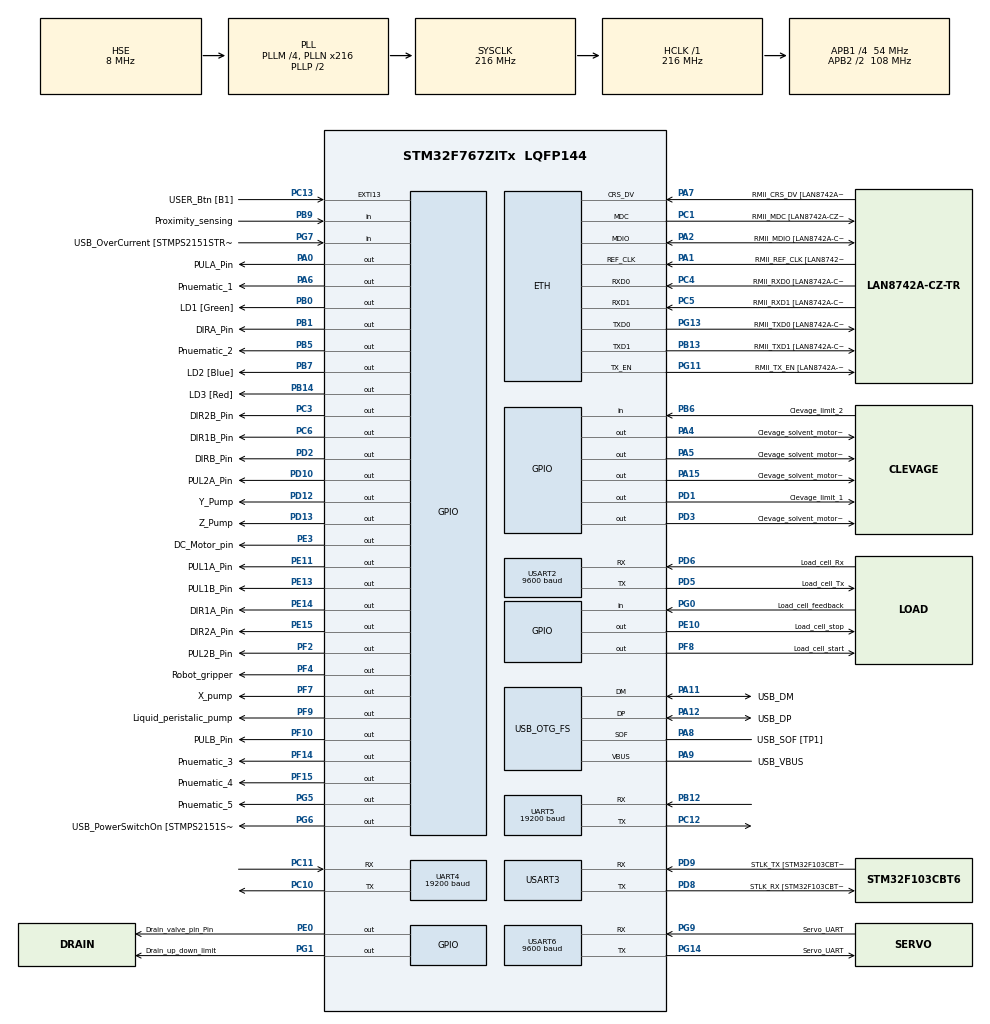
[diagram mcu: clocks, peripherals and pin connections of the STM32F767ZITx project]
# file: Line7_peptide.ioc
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CORTEX_M7.default_mode_Activation=1
ETH.MediaInterface=HAL_ETH_RMII_MODE
ETH.PHY_Name=LAN8742A_PHY_ADDRESS
ETH.PHY_Value=0
ETH.PhyAddress=0
FREERTOS.Tasks01=defaultTask,0,256,StartDefaultTask,Default,NULL,Dynamic,NULL,NULL
FREERTOS.configTOTAL_HEAP_SIZE=32768
FREERTOS.configUSE_NEWLIB_REENTRANT=1
LWIP.BSP.number=1
LWIP.DEFAULT_ACCEPTMBOX_SIZE=16
LWIP.DEFAULT_TCP_RECVMBOX_SIZE=32
LWIP.GATEWAY_ADDRESS=192.168.058.002
LWIP.IP_ADDRESS=192.168.058.100
LWIP.LWIP_DHCP=0
LWIP.LWIP_STATS=1
LWIP.MEMP_NUM_TCP_SEG=32
LWIP.MEM_SIZE=24*1024
LWIP.NETMASK_ADDRESS=250.250.250.000
LWIP.PBUF_POOL_BUFSIZE=1520
LWIP.PBUF_POOL_SIZE=24
LWIP.TCPIP_MBOX_SIZE=32
LWIP.TCPIP_THREAD_STACKSIZE=2048
LWIP.TCP_MSS=1460
LWIP.TCP_SND_BUF=5840
LWIP.TCP_WND=5840
LWIP.Version=v2.1.2_Cube
LWIP0.BSP.STBoard=false
LWIP0.BSP.api=BSP_COMPONENT_DRIVER
LWIP0.BSP.component=LAN8742
LWIP0.BSP.instance=LAN8742
LWIP0.BSP.name=Driver_PHY
LWIP0.BSP.semaphore=S_LAN8742
LWIP0.BSP.solution=LAN8742
Mcu.Family=STM32F7
Mcu.Name=STM32F767ZITx
Mcu.Package=LQFP144
NVIC.ETH_IRQn=true\:5\:0\:false\:false\:true\:true\:false\:true\:true
NVIC.PriorityGroup=NVIC_PRIORITYGROUP_4
NVIC.TIM1_UP_TIM10_IRQn=true\:5\:0\:false\:false\:true\:true\:true\:true\:true
NVIC.TIM2_IRQn=true\:5\:0\:false\:false\:true\:true\:true\:true\:true
NVIC.TIM6_DAC_IRQn=true\:15\:0\:false\:false\:true\:false\:false\:true\:true
NVIC.TIM7_IRQn=true\:5\:0\:false\:false\:true\:true\:true\:true\:true
NVIC.TimeBase=TIM6_DAC_IRQn
NVIC.TimeBaseIP=TIM6
PA0/WKUP.GPIO_Label=PULA_Pin
PA0/WKUP.Signal=GPIO_Output
PA1.GPIO_Label=RMII_REF_CLK [LAN8742A-CZ-TR_REFCLK0]
PA1.Mode=RMII
PA1.Signal=ETH_REF_CLK
PA10.GPIO_Label=USB_ID
PA10.Signal=USB_OTG_FS_ID
PA11.GPIO_Label=USB_DM
PA11.Mode=Device_Only
PA11.Signal=USB_OTG_FS_DM
PA12.GPIO_Label=USB_DP
PA12.Mode=Device_Only
PA12.Signal=USB_OTG_FS_DP
PA13.GPIO_Label=TMS
PA13.Mode=Serial_Wire
PA13.Signal=SYS_JTMS-SWDIO
PA14.GPIO_Label=TCK
PA14.Mode=Serial_Wire
PA14.Signal=SYS_JTCK-SWCLK
PA15.GPIO_Label=Clevage_solvent_motor_3
PA15.Signal=GPIO_Output
PA2.GPIO_Label=RMII_MDIO [LAN8742A-CZ-TR_MDIO]
PA2.Mode=RMII
PA2.Signal=ETH_MDIO
PA4.GPIO_Label=Clevage_solvent_motor_1
PA4.Signal=GPIO_Output
PA5.GPIO_Label=Clevage_solvent_motor_2
PA5.Signal=GPIO_Output
PA6.GPIO_Label=Pnuematic_1
PA6.Signal=GPIO_Output
PA7.GPIO_Label=RMII_CRS_DV [LAN8742A-CZ-TR_CRS_DV]
PA7.Mode=RMII
PA7.Signal=ETH_CRS_DV
PA8.GPIO_Label=USB_SOF [TP1]
PA8.Mode=Activate_SOF_FS
PA8.Signal=USB_OTG_FS_SOF
PA9.GPIO_Label=USB_VBUS
PA9.Mode=Activate_VBUS
PA9.Signal=USB_OTG_FS_VBUS
PB0.GPIO_Label=LD1 [Green]
PB0.Signal=GPIO_Output
PB1.GPIO_Label=DIRA_Pin
PB1.Signal=GPIO_Output
PB12.GPIO_Speed=GPIO_SPEED_FREQ_LOW
PB12.Mode=Asynchronous
PB12.Signal=UART5_RX
PB13.GPIO_Label=RMII_TXD1 [LAN8742A-CZ-TR_TXD1]
PB13.Mode=RMII
PB13.Signal=ETH_TXD1
PB14.GPIO_Label=LD3 [Red]
PB14.Signal=GPIO_Output
PB3.GPIO_Label=SWO
PB3.Signal=SYS_JTDO-SWO
PB5.GPIO_Label=Pnuematic_2
PB5.Signal=GPIO_Output
PB6.GPIO_Label=Clevage_limit_2
PB6.GPIO_PuPd=GPIO_NOPULL
PB6.Signal=GPIO_Input
PB7.GPIO_Label=LD2 [Blue]
PB7.Signal=GPIO_Output
PB9.GPIO_Label=Proximity_sensing
PB9.GPIO_PuPd=GPIO_PULLDOWN
PB9.Signal=GPIO_Input
PC1.GPIO_Label=RMII_MDC [LAN8742A-CZ-TR_MDC]
PC1.Mode=RMII
PC1.Signal=ETH_MDC
PC10.Mode=Asynchronous
PC10.Signal=UART4_TX
PC11.Mode=Asynchronous
PC11.Signal=UART4_RX
PC12.GPIO_Speed=GPIO_SPEED_FREQ_LOW
PC12.Mode=Asynchronous
PC12.Signal=UART5_TX
PC13.GPIO_Label=USER_Btn [B1]
PC13.Signal=GPXTI13
PC14/OSC32_IN.Mode=LSE-External-Oscillator
PC14/OSC32_IN.Signal=RCC_OSC32_IN
PC15/OSC32_OUT.Mode=LSE-External-Oscillator
PC15/OSC32_OUT.Signal=RCC_OSC32_OUT
PC3.GPIO_Label=DIR2B_Pin
PC3.Signal=GPIO_Output
PC4.GPIO_Label=RMII_RXD0 [LAN8742A-CZ-TR_RXD0]
PC4.Mode=RMII
PC4.Signal=ETH_RXD0
PC5.GPIO_Label=RMII_RXD1 [LAN8742A-CZ-TR_RXD1]
PC5.Mode=RMII
PC5.Signal=ETH_RXD1
PC6.GPIO_Label=DIR1B_Pin
PC6.Signal=GPIO_Output
PD1.GPIO_Label=Clevage_limit_1
PD1.Signal=GPIO_Output
PD10.GPIO_Label=PUL2A_Pin
PD10.Signal=GPIO_Output
PD12.GPIO_Label=Y_Pump
PD12.Signal=GPIO_Output
PD13.GPIO_Label=Z_Pump
PD13.Signal=GPIO_Output
PD2.GPIO_Label=DIRB_Pin
PD2.Signal=GPIO_Output
PD3.GPIO_Label=Clevage_solvent_motor_4
PD3.Signal=GPIO_Output
PD5.GPIO_Label=Load_cell_Tx
PD5.Mode=Asynchronous
PD5.Signal=USART2_TX
PD6.GPIO_Label=Load_cell_Rx
PD6.Mode=Asynchronous
PD6.Signal=USART2_RX
PD8.GPIO_Label=STLK_RX [STM32F103CBT6_PA3]
PD8.Mode=Asynchronous
PD8.Signal=USART3_TX
PD9.GPIO_Label=STLK_TX [STM32F103CBT6_PA2]
PD9.Mode=Asynchronous
PD9.Signal=USART3_RX
PE0.GPIO_Label=Drain_valve_pin_Pin
PE0.Signal=GPIO_Output
PE10.GPIO_Label=Load_cell_stop
PE10.Signal=GPIO_Output
PE11.GPIO_Label=PUL1A_Pin
PE11.Signal=GPIO_Output
PE13.GPIO_Label=PUL1B_Pin
PE13.Signal=GPIO_Output
PE14.GPIO_Label=DIR1A_Pin
PE14.Signal=GPIO_Output
PE15.GPIO_Label=DIR2A_Pin
PE15.Signal=GPIO_Output
PE3.GPIO_Label=DC_Motor_pin
PE3.Signal=GPIO_Output
PF10.GPIO_Label=PULB_Pin
PF10.Signal=GPIO_Output
PF14.GPIO_Label=Pnuematic_3
PF14.Signal=GPIO_Output
PF15.GPIO_Label=Pnuematic_4
PF15.Signal=GPIO_Output
PF2.GPIO_Label=PUL2B_Pin
PF2.Signal=GPIO_Output
PF4.GPIO_Label=Robot_gripper
PF4.Signal=GPIO_Output
PF7.GPIO_Label=X_pump
PF7.Signal=GPIO_Output
PF8.GPIO_Label=Load_cell_start
PF8.Signal=GPIO_Output
PF9.GPIO_Label=Liquid_peristalic_pump
PF9.Signal=GPIO_Output
PG0.GPIO_Label=Load_cell_feedback
PG0.Signal=GPIO_Input
PG1.GPIO_Label=Drain_up_down_limit
PG1.Signal=GPIO_Output
PG11.GPIO_Label=RMII_TX_EN [LAN8742A-CZ-TR_TXEN]
PG11.Mode=RMII
PG11.Signal=ETH_TX_EN
PG13.GPIO_Label=RMII_TXD0 [LAN8742A-CZ-TR_TXD0]
PG13.Mode=RMII
PG13.Signal=ETH_TXD0
PG14.GPIO_Label=Servo_UART
PG14.Mode=Asynchronous
PG14.Signal=USART6_TX
PG5.GPIO_Label=Pnuematic_5
PG5.Signal=GPIO_Output
PG6.GPIO_Label=USB_PowerSwitchOn [STMPS2151STR_EN]
PG6.Signal=GPIO_Output
PG7.GPIO_Label=USB_OverCurrent [STMPS2151STR_FAULT]
PG7.Signal=GPIO_Input
PG9.GPIO_Label=Servo_UART
PG9.Mode=Asynchronous
PG9.Signal=USART6_RX
PH0/OSC_IN.GPIO_Label=MCO [STM32F103CBT6_PA8]
PH0/OSC_IN.Mode=HSE-External-Clock-Source
PH0/OSC_IN.Signal=RCC_OSC_IN
PH1/OSC_OUT.Mode=HSE-External-Clock-Source
PH1/OSC_OUT.Signal=RCC_OSC_OUT
ProjectManager.HeapSize=0x200
ProjectManager.StackSize=0x400
ProjectManager.TargetToolchain=STM32CubeIDE
RCC.48MHZClocksFreq_Value=24000000
RCC.AHBFreq_Value=216000000
RCC.APB1CLKDivider=RCC_HCLK_DIV4
RCC.APB1Freq_Value=54000000
RCC.APB1TimFreq_Value=108000000
RCC.APB2CLKDivider=RCC_HCLK_DIV2
RCC.APB2Freq_Value=108000000
RCC.APB2TimFreq_Value=216000000
RCC.CortexFreq_Value=216000000
RCC.HCLKFreq_Value=216000000
RCC.HSE_VALUE=8000000
RCC.HSI_VALUE=16000000
RCC.PLLM=4
RCC.PLLMUL=RCC_PLL_MUL9
RCC.PLLN=216
RCC.PLLQ=9
RCC.PRESCALERUSB=RCC_USBCLKSOURCE_PLL_DIV1_5
RCC.SYSCLKFreq_VALUE=216000000
RCC.SYSCLKSource=RCC_SYSCLKSOURCE_PLLCLK
RCC.SYSCLKSourceVirtual=RCC_SYSCLKSOURCE_PLLCLK
RCC.USBFreq_Value=48000000
RCC.VCOOutputFreq_Value=432000000
TIM10.AutoReloadPreload=TIM_AUTORELOAD_PRELOAD_ENABLE
TIM10.Period=999
TIM10.Prescaler=431
TIM2.AutoReloadPreload=TIM_AUTORELOAD_PRELOAD_ENABLE
TIM2.Channel-Output\ Compare1\ No\ Output=TIM_CHANNEL_1
TIM2.Prescaler=107
TIM7.AutoReloadPreload=TIM_AUTORELOAD_PRELOAD_ENABLE
TIM7.Period=999
TIM7.Prescaler=215
UART4.BaudRate=19200
UART5.BaudRate=19200
UART5.OverrunDisableParam=UART_ADVFEATURE_OVERRUN_DISABLE
USART2.BaudRate=9600
USART2.VirtualMode-Asynchronous=VM_ASYNC
USART3.VirtualMode-Asynchronous=VM_ASYNC
USART6.BaudRate=9600
USART6.VirtualMode-Asynchronous=VM_ASYNC
USB_OTG_FS.VirtualMode=Device_Only
VP_FREERTOS_VS_CMSIS_V1.Mode=CMSIS_V1
VP_LWIP_VS_Enabled.Mode=Enabled
VP_SYS_VS_tim6.Mode=TIM6
VP_TIM10_VS_ClockSourceINT.Mode=Enable_Timer
VP_TIM2_VS_ClockSourceINT.Mode=Internal
VP_TIM2_VS_no_output1.Mode=Output Compare1 No Output
VP_TIM7_VS_ClockSourceINT.Mode=Enable_Timer
board=NUCLEO-F767ZI

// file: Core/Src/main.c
/* USER CODE BEGIN Header */
/**
  ******************************************************************************
  * @file           : main.c
  * @brief          : Main program body -- LINE 7 peptide synthesizer
  *
  *  Boots the peripherals, initialises the RS485 field-bus devices, then hands
  *  the CPU to FreeRTOS. The peptide application (FR5 six-axis arm + rail + the
  *  flow-SPPS station sequence) runs in the appMain task -- see freertos.c and
  *  Application/Peptide/peptide_app.c.
  *
  *  All customisations live inside USER CODE blocks so STM32CubeMX preserves
  *  them when you regenerate after enabling FreeRTOS + LWIP (already set in the
  *  .ioc). See INTEGRATION_GUIDE.md.
  ******************************************************************************
  * @attention
  *
  * Copyright (c) 2026 STMicroelectronics.
  * All rights reserved.
  *
  * This software is licensed under terms that can be found in the LICENSE file
  * in the root directory of this software component.
  * If no LICENSE file comes with this software, it is provided AS-IS.
  *
  ******************************************************************************
  */
/* USER CODE END Header */
#include "main.h"
#include "cmsis_os.h"
#include "lwip.h"
#include "tim.h"
#include "usart.h"
#include "usb_otg.h"
#include "gpio.h"

/* USER CODE BEGIN Includes */
#include "servo.h"
#include "uart.h"
#include "Load.h"
#include "timer_app.h"   /* timerAppInit() -- starts TIM2 for delay_us() */
#include <stdarg.h>
#include <stdio.h>
/* USER CODE END Includes */

/* USER CODE BEGIN PD */
/* PE9 = load-cell feedback INPUT. Changing PE9's mode to input in CubeMX
 * cleared its user label, so main.h no longer generates these two defines.
 * Re-declare them here (USER CODE = regen-safe). Matches gpio.c, which now
 * configures PE9/GPIOE as GPIO_MODE_INPUT.
 * (To make these come from main.h again, just re-enter the User Label
 *  "Load_cell_feedback" on PE9 in CubeMX and regenerate.) */
#ifndef Load_cell_feedback_Pin
#define Load_cell_feedback_Pin        GPIO_PIN_9
#define Load_cell_feedback_GPIO_Port  GPIOE
#endif
/* USER CODE END PD */

/* USER CODE BEGIN PV */
/* Servo bus handle: shared RS485/Modbus bus (USART2). Addresses:
 *   MIXER_ID (0x01) = St5 stir servo, MicroID (0x02) = St2 amino carousel,
 *   ROBOT_LINEAR_ID (0x03) = arm linear rail. */
static ServoHandle ServoObject;
ServoHandle *servo = &ServoObject;

/* Load cell / vibratory feeder controller (USART6). */
static LoadCellHandle LoadCellObject;
LoadCellHandle *loadcell = &LoadCellObject;

#define LOADCELL_SLAVE_ID   0x01

/* MachineMenu.c declares this as `extern uint8_t SelectedID;` (transient
 * scratch var for whichever servo the numbered menu is currently driving,
 * e.g. MIXER_ID / MicroID) -- it must be DEFINED somewhere. Restored here
 * to match the original menu-based main.c. */
uint8_t SelectedID;
/* USER CODE END PV */

void SystemClock_Config(void);
static void MPU_Config(void);
void MX_FREERTOS_Init(void);
/* USER CODE BEGIN PFP */
void stepperTimerTick(void);    /* stepper.c -- motor 1, one TIM7 step sub-state  */
void stepperTimerTick2(void);   /* stepper.c -- motor 2, one TIM10 step sub-state */

/* USER CODE END PFP */

/* USER CODE BEGIN 0 */

/* Retarget printf() to the USART3 console so the ported robot module's
 * logging works alongside UART_Print(). syscalls.c's _write() calls this. */
int __io_putchar(int ch)
{
	uint8_t c = (uint8_t)ch;
	HAL_UART_Transmit(&huart3, &c, 1, HAL_MAX_DELAY);
	return ch;
}

/* USER CODE END 0 */

int main(void)
{

  /* MPU Configuration--------------------------------------------------------*/
  MPU_Config();

  /* MCU Configuration--------------------------------------------------------*/

  /* Reset of all peripherals, Initializes the Flash interface and the Systick. */
  HAL_Init();

  /* Configure the system clock */
  SystemClock_Config();

  /* Initialize all configured peripherals */
  MX_GPIO_Init();
  MX_USART3_UART_Init();
  MX_USB_OTG_FS_PCD_Init();
  MX_USART2_UART_Init();
  MX_USART6_UART_Init();
  MX_TIM7_Init();
  MX_TIM10_Init();
  MX_TIM2_Init();
  MX_UART4_Init();
  MX_UART5_Init();
  /* USER CODE BEGIN 2 */
  /* Start TIM2 so delay_us()/delay_ms() in timer_app.c actually count -- the
   * new_stepper.c driver blocks in delay_us() forever without this. Inside
   * USER CODE so CubeMX keeps it on regenerate. */
  timerAppInit();

  /* RS485 field-bus devices (must be up before the RTOS tasks use them):
       USART2 -> MAX485 -> servo drives (St5 mixer, St2 carousel, arm rail)
       USART6 -> MAX485 -> load cell / vibratory feeder controller */
  ServoInit(servo, &huart6);
  //ServoPositionConfig(servo,MicroID);
  //ServoPositionConfig(servo, MIXER_ID);

  LoadCell_Init(loadcell, &huart2,
                Load_cell_start_GPIO_Port, Load_cell_start_Pin,
                Load_cell_stop_GPIO_Port, Load_cell_stop_Pin,
                Load_cell_feedback_GPIO_Port, Load_cell_feedback_Pin,
                LOADCELL_SLAVE_ID);

  UART_Print("\r\nLINE 7 boot: peripherals up, starting RTOS...\r\n");
  /* USER CODE END 2 */

  /* Call init function for freertos objects (in cmsis_os2.c) */
  MX_FREERTOS_Init();

  /* Start scheduler */
  osKernelStart();

  /* We should never get here as control is now taken by the scheduler */

  /* Infinite loop */
  while (1)
  {

  }
}

void SystemClock_Config(void)
{
  RCC_OscInitTypeDef RCC_OscInitStruct = {0};
  RCC_ClkInitTypeDef RCC_ClkInitStruct = {0};

  /** Configure LSE Drive Capability
  */
  HAL_PWR_EnableBkUpAccess();

  /** Configure the main internal regulator output voltage
  */
  __HAL_RCC_PWR_CLK_ENABLE();
  __HAL_PWR_VOLTAGESCALING_CONFIG(PWR_REGULATOR_VOLTAGE_SCALE1);

  /** Initializes the RCC Oscillators according to the specified parameters
  * in the RCC_OscInitTypeDef structure.
  */
  RCC_OscInitStruct.OscillatorType = RCC_OSCILLATORTYPE_HSE;
  RCC_OscInitStruct.HSEState = RCC_HSE_BYPASS;
  RCC_OscInitStruct.PLL.PLLState = RCC_PLL_ON;
  RCC_OscInitStruct.PLL.PLLSource = RCC_PLLSOURCE_HSE;
  RCC_OscInitStruct.PLL.PLLM = 4;
  RCC_OscInitStruct.PLL.PLLN = 216;
  RCC_OscInitStruct.PLL.PLLP = RCC_PLLP_DIV2;
  RCC_OscInitStruct.PLL.PLLQ = 9;
  RCC_OscInitStruct.PLL.PLLR = 2;
  if (HAL_RCC_OscConfig(&RCC_OscInitStruct) != HAL_OK)
  {
    Error_Handler();
  }

  /** Activate the Over-Drive mode
  */
  if (HAL_PWREx_EnableOverDrive() != HAL_OK)
  {
    Error_Handler();
  }

  /** Initializes the CPU, AHB and APB buses clocks
  */
  RCC_ClkInitStruct.ClockType = RCC_CLOCKTYPE_HCLK|RCC_CLOCKTYPE_SYSCLK
                              |RCC_CLOCKTYPE_PCLK1|RCC_CLOCKTYPE_PCLK2;
  RCC_ClkInitStruct.SYSCLKSource = RCC_SYSCLKSOURCE_PLLCLK;
  RCC_ClkInitStruct.AHBCLKDivider = RCC_SYSCLK_DIV1;
  RCC_ClkInitStruct.APB1CLKDivider = RCC_HCLK_DIV4;
  RCC_ClkInitStruct.APB2CLKDivider = RCC_HCLK_DIV2;

  if (HAL_RCC_ClockConfig(&RCC_ClkInitStruct, FLASH_LATENCY_7) != HAL_OK)
  {
    Error_Handler();
  }
}

 /* MPU Configuration */

void MPU_Config(void)
{
  MPU_Region_InitTypeDef MPU_InitStruct = {0};

  /* Disables the MPU */
  HAL_MPU_Disable();

  /** Initializes and configures the Region and the memory to be protected
  */
  MPU_InitStruct.Enable = MPU_REGION_ENABLE;
  MPU_InitStruct.Number = MPU_REGION_NUMBER0;
  MPU_InitStruct.BaseAddress = 0x0;
  MPU_InitStruct.Size = MPU_REGION_SIZE_4GB;
  MPU_InitStruct.SubRegionDisable = 0x87;
  MPU_InitStruct.TypeExtField = MPU_TEX_LEVEL0;
  MPU_InitStruct.AccessPermission = MPU_REGION_NO_ACCESS;
  MPU_InitStruct.DisableExec = MPU_INSTRUCTION_ACCESS_DISABLE;
  MPU_InitStruct.IsShareable = MPU_ACCESS_SHAREABLE;
  MPU_InitStruct.IsCacheable = MPU_ACCESS_NOT_CACHEABLE;
  MPU_InitStruct.IsBufferable = MPU_ACCESS_NOT_BUFFERABLE;

  HAL_MPU_ConfigRegion(&MPU_InitStruct);
  /* Enables the MPU */
  HAL_MPU_Enable(MPU_PRIVILEGED_DEFAULT);

}

void HAL_TIM_PeriodElapsedCallback(TIM_HandleTypeDef *htim)
{
  if (htim->Instance == TIM6)
  {
    HAL_IncTick();
  }
  /* USER CODE BEGIN Callback 1 */
  if (htim->Instance == TIM7)
  {
    stepperTimerTick();     /* motor 1 */
  }
  if (htim->Instance == TIM10)
  {
    stepperTimerTick2();    /* motor 2 */
  }

  /* USER CODE END Callback 1 */
}

void Error_Handler(void)
{
  /* USER CODE BEGIN Error_Handler_Debug */
  /* Visible fault indicator: fast-blink LD3 (red, PB14) at ~5 Hz so a HAL
   * init failure is immediately obvious without a debugger attached.
   * Interrupts stay disabled so nothing else can run. */
  __disable_irq();
  /* Ensure GPIOB clock is on and PB14 is output (may already be done by
   * MX_GPIO_Init, but Error_Handler can fire before that). */
  __HAL_RCC_GPIOB_CLK_ENABLE();
  GPIO_InitTypeDef gi = {0};
  gi.Pin   = LD3_Pin;  /* PB14 */
  gi.Mode  = GPIO_MODE_OUTPUT_PP;
  gi.Pull  = GPIO_NOPULL;
  gi.Speed = GPIO_SPEED_FREQ_LOW;
  HAL_GPIO_Init(GPIOB, &gi);
  while (1)
  {
    HAL_GPIO_TogglePin(GPIOB, LD3_Pin);
    for (volatile uint32_t d = 0; d < 800000; d++) { }
  }
  /* USER CODE END Error_Handler_Debug */
}

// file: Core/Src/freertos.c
/* USER CODE BEGIN Header */
/**
 ******************************************************************************
 * File Name          : freertos.c
 * Description        : FreeRTOS applications for LINE 7 peptide synthesizer.
 *
 * NOTE: This file is authored to match what STM32CubeMX generates once
 *       FreeRTOS (CMSIS-OS v1) and LWIP are enabled in the .ioc. If you
 *       regenerate from CubeMX, keep everything inside the USER CODE blocks --
 *       that is where the robot RX task, mutex/semaphore, and the appMain +
 *       peptide application task live. See INTEGRATION_GUIDE.md.
 ******************************************************************************
 */
/* USER CODE END Header */

#include "FreeRTOS.h"
#include "task.h"
#include "main.h"
#include "cmsis_os.h"

/* USER CODE BEGIN Includes */
#include "lwip/tcpip.h"
#include "lwip/sockets.h"
#include "lwip/inet.h"
#include "lwip/err.h"
#include <string.h>
#include <errno.h>
#include "lwip/netif.h"

extern struct netif gnetif;
#include "RobotCommand.h"
//#include "RobotConsole.h"
#include "MachineMenu.h"
/*#include "peptide_app.h"*/
#include "uart.h"
#include "usart.h"          /* huart6 -- the servo RS485 bus */

extern ETH_HandleTypeDef heth;

/* Numbered "PEPTIDE MACHINE MENU" task (see MachineMenu.h/MachineMenu.c).
 * Includes "5. Robot Functions", which drops into the FR5 command shell
 * built in RobotConsole.c (see robotConsoleMenu()). */
/* USER CODE END Includes */

/* USER CODE BEGIN PD */
extern int robotSocket;

/* Reply buffer filled by the socket RX task, consumed in RobotCommand.c */
//char         robotReplyBuffer[1024];
//volatile int robotReplyLength = 0;

#define SIG_READY        1
//#define SIG_ROBOT_START  2
/* USER CODE END PD */

/* USER CODE BEGIN Variables */
osThreadId appMainTaskHandle;
//osThreadId robotRxTaskHandle;

//osMutexId     robotMutexHandle;
//osSemaphoreId robotReplySemHandle;

/* Serialises the shared USART3 debug console between appMainTask and
 * robotRxTask so their prints don't interleave / trip HAL_BUSY. */
//osMutexId     consoleMutexHandle;

/* ---------------------------------------------------------------------------
 * Servo bus (USART6) interrupt-driven RX ring buffer
 * ---------------------------------------------------------------------------
 * The servo Modbus reader (servo.c) used to poll the one-byte RX register,
 * which dropped bytes whenever another task/LWIP preempted it mid-frame. Here
 * the USART6 RX interrupt copies each incoming byte into this ring the instant
 * it lands, so capture no longer depends on which task is scheduled. servo.c
 * drains it via ServoRxRingGet(). Size is a power of two so the index wrap is
 * a cheap AND; 256 bytes is far more than a 9-byte Modbus reply needs. */
#define SERVO_RX_RING_SIZE   256u
#define SERVO_RX_RING_MASK   (SERVO_RX_RING_SIZE - 1u)

static volatile uint8_t  servoRxRing[SERVO_RX_RING_SIZE];
static volatile uint16_t servoRxHead;   /* producer: written only by the ISR    */
static volatile uint16_t servoRxTail;   /* consumer: written only by the reader  */

/* ---------------------------------------------------------------------------
 * Static stack/TCB for appMainTask (used by the xTaskCreateStatic() call in
 * MX_FREERTOS_Init's RTOS_THREADS block below).
 *
 * These MUST live in a STANDARD USER CODE block. They used to sit in a custom
 * "USER CODE BEGIN APP_MAIN_TASK_MEMORY" section, but CubeMX only preserves the
 * USER CODE blocks it generates itself -- it does not know that custom name, so
 * it DROPPED the whole block on regenerate, leaving xTaskCreateStatic()
 * referencing undeclared symbols. Kept here in USER CODE BEGIN Variables (a
 * block CubeMX always regenerates) so it survives.
 *
 * 4096 words = 16 KB: the appMain task runs the deep menu + LWIP/robot call
 * chains, and a smaller stack overflowed. */
#define APP_MAIN_TASK_STACK_WORDS   4096
static StackType_t  xAppMainTaskStack[APP_MAIN_TASK_STACK_WORDS];
static StaticTask_t xAppMainTaskTCB;
/* USER CODE END Variables */
osThreadId defaultTaskHandle;

/* USER CODE BEGIN FunctionPrototypes */
void StartAppMainTask(void const *argument);
//void RobotRxTask(void const *argument);
//void startRobotRxTask(void);
/* USER CODE END FunctionPrototypes */

void StartDefaultTask(void const * argument);

extern void MX_LWIP_Init(void);
void MX_FREERTOS_Init(void); /* (MISRA C 2004 rule 8.1) */

/* GetIdleTaskMemory prototype (linked to static allocation support) */
void vApplicationGetIdleTaskMemory( StaticTask_t **ppxIdleTaskTCBBuffer, StackType_t **ppxIdleTaskStackBuffer, uint32_t *pulIdleTaskStackSize );

/* USER CODE BEGIN GET_IDLE_TASK_MEMORY */
static StaticTask_t xIdleTaskTCBBuffer;
static StackType_t xIdleStack[configMINIMAL_STACK_SIZE];

void vApplicationGetIdleTaskMemory(StaticTask_t **ppxIdleTaskTCBBuffer,
		StackType_t **ppxIdleTaskStackBuffer, uint32_t *pulIdleTaskStackSize)
{
	*ppxIdleTaskTCBBuffer = &xIdleTaskTCBBuffer;
	*ppxIdleTaskStackBuffer = &xIdleStack[0];
	*pulIdleTaskStackSize = configMINIMAL_STACK_SIZE;
}
/* USER CODE END GET_IDLE_TASK_MEMORY */

void MX_FREERTOS_Init(void) {

  /* USER CODE BEGIN RTOS_MUTEX */

//	osMutexDef(robotMutex);
//	robotMutexHandle = osMutexCreate(osMutex(robotMutex));
//
//	osMutexDef(consoleMutex);
//	consoleMutexHandle = osMutexCreate(osMutex(consoleMutex));
  /* USER CODE END RTOS_MUTEX */

  /* USER CODE BEGIN RTOS_SEMAPHORES */
//	osSemaphoreDef(robotReplySem);
//	robotReplySemHandle = osSemaphoreCreate(osSemaphore(robotReplySem), 1);
	/* start empty */
//	osSemaphoreWait(robotReplySemHandle, 0);

  /* USER CODE END RTOS_SEMAPHORES */

  /* Create the thread(s) */
  /* definition and creation of defaultTask */
  osThreadDef(defaultTask, StartDefaultTask, osPriorityNormal, 0, 1024);
  defaultTaskHandle = osThreadCreate(osThread(defaultTask), NULL);

  /* USER CODE BEGIN RTOS_THREADS */
	/* Statically allocated -- see xAppMainTaskStack/xAppMainTaskTCB and the
	 * comment above vApplicationGetIdleTaskMemory(). tskIDLE_PRIORITY + 3
	 * is exactly the FreeRTOS priority osThreadCreate() would have computed
	 * for osPriorityNormal (CMSIS-RTOS v1 offsets everything from
	 * osPriorityIdle == -3), so this behaves identically to before. */
	appMainTaskHandle = (osThreadId)xTaskCreateStatic(
			(TaskFunction_t)StartAppMainTask,
			"appMainTask",
			APP_MAIN_TASK_STACK_WORDS,
			NULL,
			(UBaseType_t)(tskIDLE_PRIORITY + 3),
			xAppMainTaskStack,
			&xAppMainTaskTCB);

//	osThreadDef(robotRxTask, RobotRxTask, osPriorityHigh, 0, 1024);
//	robotRxTaskHandle = osThreadCreate(osThread(robotRxTask), NULL);
  /* USER CODE END RTOS_THREADS */

}

/* USER CODE BEGIN Header_StartDefaultTask */
/**
  * @brief  Function implementing the defaultTask thread.
  * @param  argument: Not used
  * @retval None
  */

//
//void RobotRxTask(void const *argument)
//{
//	char rxBuf[1024];
//	int  len;
//
//	/* Stay dormant -- and silent -- until the Robot Functions menu is
//	 * entered (see robotConsoleMenu()/robotConsoleTask(), which call
//	 * startRobotRxTask()). Otherwise this task used to print
//	 * "Waiting for robot connection..." from boot, before the main
//	 * menu even had a chance to show. */
//	osSignalWait(SIG_ROBOT_START, osWaitForever);
//
//	UART_Print("RX TASK STARTED\r\n");
//
//
//	// Wait for robot socket to be connected
//	if (robotSocket < 0) {
//	    UART_Print("Waiting for robot connection...\r\n");
//	}
//	while (robotSocket < 0) {
//	    osDelay(1000);
//	}
//
//	for (;;) {
//		if (robotSocket < 0) {
//			osDelay(100);
//			continue;
//		}
//
//		len = lwip_recv(robotSocket, rxBuf, sizeof(rxBuf) - 1, 0);
//
//		if (len > 0) {
//			rxBuf[len] = 0;
//			UART_Print("ROBOT RX: %s\r\n", rxBuf);
//
//			memset(robotReplyBuffer, 0, sizeof(robotReplyBuffer));
//			memcpy(robotReplyBuffer, rxBuf, len);
//			robotReplyLength = len;
//
//			osSemaphoreRelease(robotReplySemHandle);
//		} else if (len == 0) {
//			UART_Print("Robot disconnected\r\n");
//			lwip_close(robotSocket);
//			robotSocket = -1;
//		} else {
//			if (errno == EWOULDBLOCK || errno == EAGAIN || errno == ETIMEDOUT) {
//				osDelay(10);
//				continue;
//			}
//			UART_Print("RX fatal error errno=%d\r\n", errno);
//			lwip_close(robotSocket);
//			robotSocket = -1;
//		}
//	}
//}
//
//

void LAN8742_SW_Reset(void) {

	uint32_t reg;
	uint32_t start;

	/* Read BCR */
	HAL_ETH_ReadPHYRegister(&heth, LAN8742A_PHY_ADDRESS, PHY_BCR, &reg);

	/* Set reset bit */
	reg |= PHY_RESET;
	HAL_ETH_WritePHYRegister(&heth, LAN8742A_PHY_ADDRESS, PHY_BCR, reg);

	/* Wait reset done -- bounded (2s). Self-clears almost immediately in
	 * practice, but there's no reason to risk spinning forever here either
	 * if the PHY doesn't respond as expected. */
	start = osKernelSysTick();
	do {
		HAL_ETH_ReadPHYRegister(&heth, LAN8742A_PHY_ADDRESS, PHY_BCR, &reg);
		if (!(reg & PHY_RESET)) {
			break;
		}
		osDelay(50);
	} while ((osKernelSysTick() - start) < 2000);

	/* Restart autonegotiation */
	HAL_ETH_ReadPHYRegister(&heth, LAN8742A_PHY_ADDRESS, PHY_BCR, &reg);
	reg |= PHY_AUTONEGOTIATION;
	reg |= PHY_RESTART_AUTONEGOTIATION;
	HAL_ETH_WritePHYRegister(&heth, LAN8742A_PHY_ADDRESS, PHY_BCR, reg);

	/* Wait link -- BOUNDED (5s). This used to be an unconditional
	 * "while (!(reg & PHY_LINKED_STATUS));" with no timeout, which spins
	 * forever if there's no Ethernet cable connected / no live link
	 * partner -- permanently parking defaultTask here, so it could never
	 * reach the osSignalSet(appMainTaskHandle, SIG_READY) a few lines later
	 * in StartDefaultTask(). Give it 5s, then continue regardless: the menu
	 * starts anyway via StartAppMainTask()'s own bounded SIG_READY wait --
	 * only "Robot Functions" actually needs the link to be up. */
	start = osKernelSysTick();
	do {
		HAL_ETH_ReadPHYRegister(&heth, LAN8742A_PHY_ADDRESS, PHY_BSR, &reg);
		if (reg & PHY_LINKED_STATUS) {
			break;
		}
		osDelay(100);
	} while ((osKernelSysTick() - start) < 5000);

	if (reg & PHY_LINKED_STATUS) {
		UART_Print("PHY LINK UP\r\n");
	} else {
		UART_Print("PHY link not up after 5s -- continuing anyway\r\n");
	}
}

/* USER CODE END Header_StartDefaultTask */
void StartDefaultTask(void const * argument)
{
  /* init code for LWIP */
  MX_LWIP_Init();
  /* USER CODE BEGIN StartDefaultTask */
	/* EVERYTHING custom now lives inside this USER CODE block so CubeMX
	 * regeneration cannot wipe it. Previously the PHY reset / netif bring-up
	 * and the "Before/After LWIP" prints sat BETWEEN the generated
	 * MX_LWIP_Init() and this block -- i.e. outside any USER CODE region --
	 * which is exactly why that code disappeared every time the .ioc was
	 * regenerated.
	 *
	 * MX_LWIP_Init() is left as the CubeMX-generated call above (it regenerates
	 * there regardless), so it must NOT be called again here. */
	UART_Print("LWIP init done\r\n");

	LAN8742_SW_Reset();
	netif_set_down(&gnetif);
	netif_set_up(&gnetif);

	osDelay(2000);                                   /* let DHCP/static IP settle */
	osSignalSet(appMainTaskHandle, SIG_READY);       /* release the application */

	for (;;) {
		osDelay(2000);
	}
  /* USER CODE END StartDefaultTask */
}

/* USER CODE BEGIN Application */

void StartAppMainTask(void const *argument)
{
	osEvent evt;

	UART_Print("CHECKPOINT: AppMainTask waiting for SIG_READY...\r\n");

	/* Bounded wait instead of osWaitForever. StartDefaultTask() only sends
	 * SIG_READY after MX_LWIP_Init() returns (plus a 2s settle) -- if
	 * Ethernet/LWIP never comes up (e.g. no cable connected, so the PHY
	 * link-up wait inside the Ethernet driver never returns), that signal
	 * never arrives and this task -- along with the entire menu -- would
	 * otherwise wait here forever. Give it 5s (comfortably more than the
	 * normal ~2s path takes), then start the menu regardless: the load
	 * cell / servo / stepper menu items don't need networking at all, only
	 * "Robot Functions" (the FR5 socket link) does, and that will simply
	 * not work until LWIP actually comes up. */
	evt = osSignalWait(SIG_READY, 5000);

	if (evt.status == osEventTimeout) {
		UART_Print("CHECKPOINT: AppMainTask timed out waiting for SIG_READY "
				"(network/LWIP not up) -- starting menu anyway\r\n");
	} else {
		UART_Print("CHECKPOINT: AppMainTask got SIG_READY, starting menu\r\n");
	}

	/* Numbered "PEPTIDE MACHINE MENU" (Mixing Servo / Platform Servo /
	 * Dispensing Stepper / Drain Valve / Robot Functions). Robot Functions
	 * (option 5) drops into the same FR5 command shell that robotConsoleTask()
	 * used to own outright -- see robotConsoleMenu() in RobotConsole.c.
	 * The full peptide process console (peptide_app(), in
	 * Application/Peptide/) is not started -- swap the line below to
	 * bring it back when the process layer is needed again. */
	MachineMenuTask(argument);                       /* never returns */
	/* robotConsoleTask(argument); */
	/* peptide_app(); */

	for (;;) {
		osDelay(100);
	}
}

/*
 * Socket RX task: the only reader of the robot socket. It hands each reply to
 * sendRobotData() via robotReplyBuffer + robotReplySemHandle.
 */

/* Releases RobotRxTask from its dormant wait. Call this once, right when
 * the Robot Functions menu / FR5 console is actually entered. */
//void startRobotRxTask(void)
//{
//	osSignalSet(robotRxTaskHandle, SIG_ROBOT_START);
//}

/* ===========================================================================
 * Servo bus (USART6) interrupt-driven RX -- ring buffer + ISR
 * ===========================================================================
 * Declared (extern) and consumed in servo.c: ServoRxRingInit/Flush/Get.
 *
 * The ISR does NOT call any FreeRTOS API, so its priority is unconstrained by
 * configMAX_SYSCALL_INTERRUPT_PRIORITY and it is safe to run at any level.
 */

/* Enable the USART6 RX-not-empty interrupt and its NVIC line. Called once from
 * ServoInit(). MX_USART6_UART_Init() has already put the UART in TX/RX mode, so
 * we only need to switch on the RXNE interrupt source and unmask the IRQ. */
void ServoRxRingInit(void)
{
	servoRxHead = 0;
	servoRxTail = 0;

	__HAL_UART_CLEAR_OREFLAG(&huart6);

	/* Priority 6 = numerically below ETH (5) and comfortably inside the
	 * range FreeRTOS allows; it must be >= configMAX_SYSCALL priority only
	 * if it called RTOS APIs, which it doesn't -- but a safe value costs
	 * nothing. At 9600 baud bytes are ~1 ms apart, so this trivially short
	 * ISR never overruns. */
	HAL_NVIC_SetPriority(USART6_IRQn, 6, 0);
	HAL_NVIC_EnableIRQ(USART6_IRQn);

	__HAL_UART_ENABLE_IT(&huart6, UART_IT_RXNE);
}

/* Discard everything currently buffered and clear any overrun. Called right
 * before a request is transmitted so a reply can't be confused with stale
 * bytes or transmit echo. Advancing the tail to the head is the whole flush --
 * cheap and race-free (only the reader writes the tail). */
void ServoRxRingFlush(void)
{
	servoRxTail = servoRxHead;
	__HAL_UART_CLEAR_OREFLAG(&huart6);
}

/* Pop one byte. Returns 1 and writes *out_byte if the ring was non-empty,
 * else 0. Single-producer (ISR) / single-consumer (reader) with head/tail
 * indices needs no locking on Cortex-M: aligned 16-bit loads/stores are
 * atomic, and each side writes only its own index. */
int ServoRxRingGet(uint8_t *out_byte)
{
	if (servoRxTail == servoRxHead) {
		return 0;                       /* empty */
	}

	*out_byte = servoRxRing[servoRxTail];
	servoRxTail = (uint16_t)((servoRxTail + 1u) & SERVO_RX_RING_MASK);

	return 1;
}

/* USART6 receive ISR.
 *
 * NOTE: this handler is defined here, NOT in stm32f7xx_it.c. That is correct
 * as long as USART6's global interrupt is left DISABLED in CubeMX (it is --
 * main.c's MX_NVIC_Init() only enables ETH), so CubeMX does not also generate
 * a USART6_IRQHandler. If you ever tick "USART6 global interrupt" in the .ioc,
 * CubeMX will emit its own USART6_IRQHandler and the linker will report a
 * duplicate symbol -- in that case delete this copy and instead call the ring
 * feed from the generated handler, or just keep this one and leave the box
 * unchecked. We deliberately do NOT route through HAL_UART_IRQHandler(): HAL's
 * IT state machine is not armed for huart6 (we never call HAL_UART_Receive_IT),
 * and blocking HAL_UART_Transmit() on the same UART keeps working untouched. */
void USART6_IRQHandler(void)
{
	UART_HandleTypeDef *h = &huart6;

	/* Overrun: clear it and carry on. The overrun byte itself is already
	 * lost in hardware, but clearing ORE keeps RXNE latching for the rest
	 * of the frame; a short frame just fails CRC upstream and is retried. */
	if (__HAL_UART_GET_FLAG(h, UART_FLAG_ORE)) {
		__HAL_UART_CLEAR_OREFLAG(h);
	}

	if (__HAL_UART_GET_FLAG(h, UART_FLAG_RXNE)) {
		uint8_t d = (uint8_t)(h->Instance->RDR & 0xFFu);   /* clears RXNE */

		uint16_t next = (uint16_t)((servoRxHead + 1u) & SERVO_RX_RING_MASK);

		if (next != servoRxTail) {          /* drop byte if ring is full */
			servoRxRing[servoRxHead] = d;
			servoRxHead = next;
		}
	}
}
/* USER CODE END Application */
